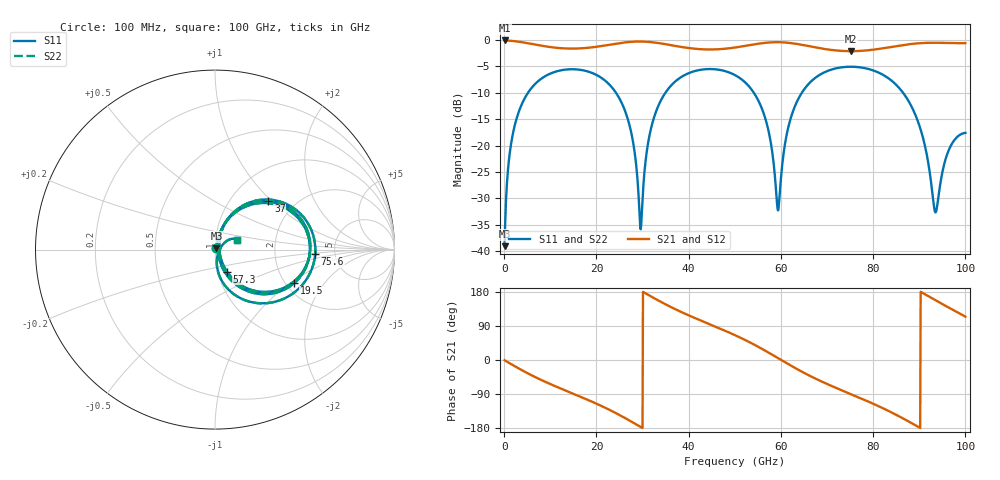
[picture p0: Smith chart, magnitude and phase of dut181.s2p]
! Touchstone file exported from HFSS 2026.1.0
!  File:  C:/ffzhzh/LocalFiles/Ansys_Project_Files/temp_train_TSV_RDL_181_1783653061_33328.aedt
!  Generated:  11:17:18 AM Jul 10, 2026
!  Design:  TSV_RDL
!  Project:  temp_train_TSV_RDL_181_1783653061_33328
! Variables:
!  h_bsmrdl = 3.62um
!  h_ox = 20um
!  h_rdl = 5um
!  h_sub = 51.06um
!  h_tmrdl = 4.16um
!  h_tsv = 51.06um
!  h_via = 3um
!  l_bsmrdl = 250.57um
!  l_sub = 2155.49um
!  l_tmrdl = 219.31um
!  m_sub = 200um
!  pitch = 54.24um
!  r_tsv = 12.44um
!  s_tmrdl = 10um
!  w_bsmrdl = 18.08um
!  w_sub = 500um
!  w_tmrdl = 24.1um
!  x_tsv_center1 = 231.36um
!  x_tsv_center2 = 500.01um
!  x_tsv_center3 = 743.42um
!  x_tsv_center4 = 1012.07um
!  x_tsv_center5 = 1255.48um
!  x_tsv_center6 = 1524.13um
# GHz S MA R 50.000000
! Terminal data exported
! Port[1] = TM_RDL1_1_T1
! Port[2] = TM_RDL5_1_T1
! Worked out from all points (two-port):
!   1000 points, 100 MHz to 100 GHz, reference 50 ohm
!   highest |S21| = -0.07 dB at 100 MHz (marker M1); lowest = -2.1 dB at 75.2 GHz (marker M2)
!   |S21| within 3 dB of the highest: start of sweep to end of sweep
!   lowest |S11| = -39.1 dB at 100 MHz (marker M3), VSWR 1.02, Z = 50.8 + j0.75 ohm
!   |S11| at or under -10 dB: 24.26 GHz to 34.95 GHz (10.69 GHz wide, 36.1 % of centre); 54.14 GHz to 64.53 GHz (10.39 GHz wide, 17.5 % of centre); 86.5 GHz to end of sweep (the widest 3 of 4)
!   |S22| runs from -39.1 to -5.1 dB; largest |S21 - S12| = 9.4e-13
!   S11 on the Smith chart (normalised r, x): 100 MHz: 1.02, +0.02; 19.5 GHz: 2.22, -1.08; 37 GHz: 1.48, +0.95; 57.3 GHz: 1.11, -0.28; 75.6 GHz: 3.51, -0.27; 100 GHz: 1.27, +0.13
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0.1  0.01115 41.4  0.9917 -0.8  0.9917 -0.8  0.01115 41.4
! Gamma 0 0 0 0
! Port Impedance 50 0 50 0
1.5  0.1038 73.2  0.9837 -10.8  0.9837 -10.8  0.1038 73.2
4.2  0.2673 57.7  0.9493 -29.2  0.9493 -29.2  0.2673 57.7
16.8  0.5201 -9.2  0.8357 -98.3  0.8357 -98.3  0.5201 -9.2
19.5  0.4793 -22.9  0.8581 -112.5  0.8581 -112.5  0.4793 -22.9
26.4  0.2024 -61.4  0.9525 -154.4  0.9525 -154.4  0.2023 -61.4
29.6  0.01611 3.6  0.969 -176.6  0.969 -176.6  0.01602 3.7
31.2  0.1055 72.5  0.962 172.2  0.962 172.2  0.1056 72.5
33.4  0.2367 62.7  0.9379 157.2  0.9379 157.2  0.2367 62.6
37  0.4018 42.2  0.8817 134.7  0.8817 134.7  0.4018 42.2
50.1  0.4644 -24.1  0.8509 65.3  0.8509 65.3  0.4644 -24.2
57.3  0.139 -61.5  0.9475 19.7  0.9475 19.7  0.1389 -61.8
59.4  0.0243 7.7  0.9547 4.7  0.9547 4.7  0.02365 7.7
62  0.1738 67.8  0.9383 -13.7  0.9383 -13.7  0.1737 68.0
66.7  0.4116 42.6  0.8652 -44.4  0.8652 -44.4  0.4115 42.6
75.2  0.559 -0.7  0.7849 -90.2  0.7849 -90.2  0.559 -0.8
75.6  0.5586 -2.7  0.7851 -92.3  0.7851 -92.3  0.5586 -2.7
83.4  0.4319 -43.0  0.8533 -134.8  0.8533 -134.8  0.4319 -43.1
89.7  0.17 -78.4  0.9314 -175.9  0.9314 -175.9  0.1699 -78.6
93.5  0.02327 -23.6  0.9434 157.8  0.9434 157.8  0.02302 -23.7
96.3  0.08857 36.0  0.9385 138.9  0.9385 138.9  0.08856 36.1
100  0.132 23.3  0.9357 114.5  0.9357 114.5  0.132 23.2
